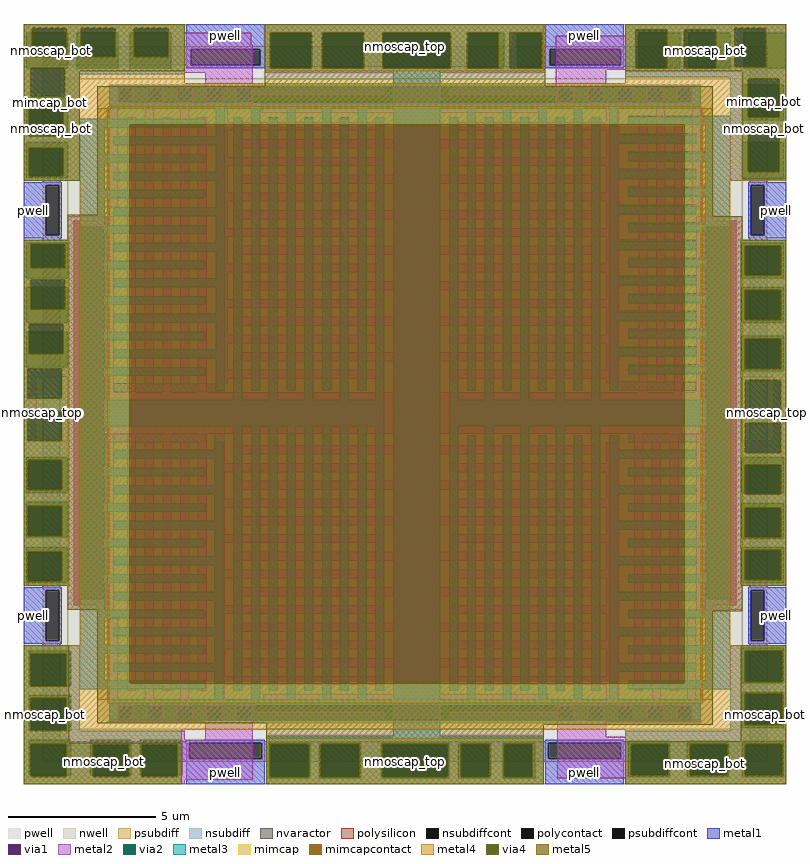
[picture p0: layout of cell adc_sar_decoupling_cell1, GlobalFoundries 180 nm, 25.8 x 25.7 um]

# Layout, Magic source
magic
tech gf180mcuD
magscale 1 10
<< nwell >>
rect -280 -240 4280 4160
<< pwell >>
rect -580 4160 4580 4530
rect -580 -240 -280 4160
rect 4280 -240 4580 4160
rect -580 -610 4580 -240
<< psubdiff >>
rect 520 4360 1050 4380
rect 520 4250 550 4360
rect 1020 4250 1050 4360
rect 520 4230 1050 4250
rect 2950 4360 3480 4380
rect 2950 4250 2980 4360
rect 3460 4250 3480 4360
rect 2950 4230 3480 4250
rect -450 3440 -320 3460
rect -450 3100 -430 3440
rect -340 3100 -320 3440
rect -450 3080 -320 3100
rect -450 700 -320 720
rect -450 360 -430 700
rect -340 360 -320 700
rect -450 340 -320 360
rect 4320 3440 4450 3460
rect 4320 3100 4340 3440
rect 4430 3100 4450 3440
rect 4320 3080 4450 3100
rect 4320 700 4450 720
rect 4320 360 4340 700
rect 4430 360 4450 700
rect 4320 340 4450 360
rect 520 -330 1050 -310
rect 520 -440 540 -330
rect 1030 -440 1050 -330
rect 520 -460 1050 -440
rect 2950 -330 3480 -310
rect 2950 -440 2970 -330
rect 3460 -440 3480 -330
rect 2950 -460 3480 -440
<< nsubdiff >>
rect 0 4100 4000 4120
rect 0 4000 60 4100
rect 3940 4000 4000 4100
rect 0 3960 4000 4000
rect 0 -80 4000 -40
rect 0 -180 60 -80
rect 3940 -180 4000 -80
rect 0 -200 4000 -180
<< psubdiffcont >>
rect 550 4250 1020 4360
rect 2980 4250 3460 4360
rect -430 3100 -340 3440
rect -430 360 -340 700
rect 4340 3100 4430 3440
rect 4340 360 4430 700
rect 540 -440 1030 -330
rect 2970 -440 3460 -330
<< nsubdiffcont >>
rect 60 4000 3940 4100
rect 60 -180 3940 -80
<< nvaractor >>
rect 0 -40 4000 3960
<< polysilicon >>
rect -80 3200 0 3960
rect -240 3160 0 3200
rect -240 640 -200 3160
rect -40 640 0 3160
rect -240 600 0 640
rect -80 -40 0 600
rect 4000 3200 4080 3960
rect 4000 3160 4240 3200
rect 4000 640 4040 3160
rect 4200 640 4240 3160
rect 4000 600 4240 640
rect 4000 -40 4080 600
<< polycontact >>
rect -200 640 -40 3160
rect 4040 640 4200 3160
<< metal1 >>
rect 520 4380 1050 4530
rect 2950 4380 3480 4530
rect -450 4360 4450 4380
rect -450 4250 550 4360
rect 1020 4250 2980 4360
rect 3460 4250 4450 4360
rect -450 3460 -330 4250
rect 520 4240 4450 4250
rect 520 4230 1050 4240
rect 2950 4230 3480 4240
rect 0 4100 4000 4110
rect 0 4000 60 4100
rect 3940 4000 4000 4100
rect 0 3960 4000 4000
rect -200 3830 650 3890
rect -200 3650 -30 3830
rect 720 3770 780 3960
rect 30 3710 780 3770
rect -200 3590 650 3650
rect -580 3440 -320 3460
rect -580 3100 -430 3440
rect -340 3100 -320 3440
rect -580 3080 -320 3100
rect -200 3410 -30 3590
rect 720 3530 780 3710
rect 30 3470 780 3530
rect -200 3350 650 3410
rect -200 3170 -30 3350
rect 720 3290 780 3470
rect 30 3230 780 3290
rect -200 3160 650 3170
rect -450 720 -330 3080
rect -580 700 -320 720
rect -580 360 -430 700
rect -340 360 -320 700
rect -580 340 -320 360
rect -40 3110 650 3160
rect -40 2930 -30 3110
rect 720 3050 780 3230
rect 30 2990 780 3050
rect -40 2870 650 2930
rect -40 2690 -30 2870
rect 720 2810 780 2990
rect 30 2750 780 2810
rect -40 2630 650 2690
rect -40 2450 -30 2630
rect 720 2570 780 2750
rect 30 2510 780 2570
rect -40 2390 650 2450
rect -40 2210 -30 2390
rect 720 2330 780 2510
rect 30 2270 780 2330
rect -40 2150 650 2210
rect -40 1990 -30 2150
rect 720 2100 780 2270
rect 30 2040 780 2100
rect 840 1990 900 3900
rect 960 2050 1020 3960
rect 1080 1990 1140 3900
rect 1200 2050 1260 3960
rect 1320 1990 1380 3900
rect 1440 2050 1500 3960
rect 1560 1990 1620 3900
rect 1680 2050 1740 3960
rect 1800 1990 1860 3900
rect -40 1810 1860 1990
rect -40 1760 -30 1810
rect -40 1700 650 1760
rect -40 1530 -30 1700
rect 710 1650 780 1810
rect 30 1590 780 1650
rect -40 1470 650 1530
rect -40 1290 -30 1470
rect 710 1410 780 1590
rect 30 1350 780 1410
rect -40 1230 650 1290
rect -40 1050 -30 1230
rect 710 1170 780 1350
rect 30 1110 780 1170
rect -40 990 650 1050
rect -40 810 -30 990
rect 710 930 780 1110
rect 30 870 780 930
rect -40 750 650 810
rect -40 640 -30 750
rect 710 690 780 870
rect -200 570 -30 640
rect 30 630 780 690
rect -200 510 650 570
rect -450 -320 -330 340
rect -200 330 -30 510
rect 710 450 780 630
rect 30 390 780 450
rect -200 270 650 330
rect -200 90 -30 270
rect 710 210 780 390
rect 30 150 780 210
rect -200 30 650 90
rect 710 -40 780 150
rect 840 20 900 1810
rect 960 -40 1020 1750
rect 1080 20 1140 1810
rect 1200 -40 1260 1750
rect 1320 20 1380 1810
rect 1440 -40 1500 1750
rect 1560 20 1620 1810
rect 1680 -40 1740 1750
rect 1800 20 1860 1810
rect 1920 -40 2240 3960
rect 2300 1990 2360 3900
rect 2420 2050 2480 3960
rect 2540 1990 2600 3900
rect 2660 2050 2720 3960
rect 2780 1990 2840 3900
rect 2900 2050 2960 3960
rect 3020 1990 3080 3900
rect 3140 2050 3200 3960
rect 3260 1990 3320 3900
rect 3380 3790 3450 3960
rect 3510 3850 4200 3910
rect 3380 3730 3970 3790
rect 3380 3550 3450 3730
rect 4030 3670 4200 3850
rect 3510 3610 4200 3670
rect 3380 3490 3970 3550
rect 3380 3310 3450 3490
rect 4030 3430 4200 3610
rect 4330 3460 4450 4240
rect 3510 3370 4200 3430
rect 3380 3250 3970 3310
rect 3380 3070 3450 3250
rect 4030 3190 4200 3370
rect 3510 3160 4200 3190
rect 3510 3130 4040 3160
rect 3380 3010 3970 3070
rect 3380 2830 3450 3010
rect 4030 2950 4040 3130
rect 3510 2890 4040 2950
rect 3380 2770 3970 2830
rect 3380 2590 3450 2770
rect 4030 2710 4040 2890
rect 3510 2650 4040 2710
rect 3380 2530 3970 2590
rect 3380 2350 3450 2530
rect 4030 2470 4040 2650
rect 3510 2410 4040 2470
rect 3380 2290 3970 2350
rect 3380 2110 3450 2290
rect 4030 2230 4040 2410
rect 3510 2170 4040 2230
rect 3380 2050 3970 2110
rect 4030 1990 4040 2170
rect 2300 1810 4040 1990
rect 2300 20 2360 1810
rect 2420 -40 2480 1750
rect 2540 20 2600 1810
rect 2660 -40 2720 1750
rect 2780 20 2840 1810
rect 2900 -40 2960 1750
rect 3020 20 3080 1810
rect 3140 -40 3200 1750
rect 3260 20 3320 1810
rect 4030 1760 4040 1810
rect 3380 1650 3450 1750
rect 3510 1700 4040 1760
rect 3380 1590 3970 1650
rect 3380 1410 3450 1590
rect 4030 1530 4040 1700
rect 3510 1470 4040 1530
rect 3380 1350 3970 1410
rect 3380 1170 3450 1350
rect 4030 1290 4040 1470
rect 3510 1230 4040 1290
rect 3380 1110 3970 1170
rect 3380 930 3450 1110
rect 4030 1050 4040 1230
rect 3510 990 4040 1050
rect 3380 870 3970 930
rect 3380 690 3450 870
rect 4030 810 4040 990
rect 3510 750 4040 810
rect 3380 630 3970 690
rect 4030 640 4040 750
rect 4320 3440 4580 3460
rect 4320 3100 4340 3440
rect 4430 3100 4580 3440
rect 4320 3080 4580 3100
rect 4330 720 4450 3080
rect 3380 450 3450 630
rect 4030 570 4200 640
rect 3510 510 4200 570
rect 3380 390 3970 450
rect 3380 210 3450 390
rect 4030 330 4200 510
rect 4320 700 4580 720
rect 4320 360 4340 700
rect 4430 360 4580 700
rect 4320 340 4580 360
rect 3510 270 4200 330
rect 3380 150 3970 210
rect 3380 -40 3450 150
rect 4030 90 4200 270
rect 3510 30 4200 90
rect 0 -80 4000 -40
rect 0 -180 60 -80
rect 3940 -180 4000 -80
rect 520 -320 1050 -310
rect 2950 -320 3480 -310
rect 4330 -320 4450 340
rect -450 -330 4450 -320
rect -450 -440 540 -330
rect 1030 -440 2970 -330
rect 3460 -440 4450 -330
rect -450 -460 4450 -440
rect 520 -610 1050 -460
rect 2950 -610 3480 -460
<< via1 >>
rect 60 4000 160 4100
rect 260 4000 360 4100
rect 460 4000 560 4100
rect 660 4000 760 4100
rect 860 4000 960 4100
rect 3040 4000 3140 4100
rect 3240 4000 3340 4100
rect 3440 4000 3540 4100
rect 3640 4000 3740 4100
rect 3840 4000 3940 4100
rect 60 -180 160 -80
rect 260 -180 360 -80
rect 460 -180 560 -80
rect 660 -180 760 -80
rect 860 -180 960 -80
rect 3040 -180 3140 -80
rect 3240 -180 3340 -80
rect 3440 -180 3540 -80
rect 3640 -180 3740 -80
rect 3840 -180 3940 -80
<< metal2 >>
rect -580 4470 510 4530
rect 1050 4470 2950 4530
rect -580 4230 -560 4470
rect -280 4230 -220 4470
rect 60 4230 140 4470
rect 420 4390 960 4470
rect 420 4230 970 4390
rect -580 4200 970 4230
rect 1050 4230 1090 4470
rect 1370 4230 1440 4470
rect 1720 4230 1850 4470
rect 2310 4230 2420 4470
rect 2670 4230 2760 4470
rect 2930 4230 2950 4470
rect 3490 4470 4580 4530
rect 3490 4450 3580 4470
rect 1050 4200 2950 4230
rect 3020 4230 3580 4450
rect 3860 4230 3920 4470
rect 4200 4230 4290 4470
rect 4570 4230 4580 4470
rect 3020 4220 4580 4230
rect -580 4190 510 4200
rect -580 4030 -200 4190
rect 650 4110 970 4200
rect -580 3790 -560 4030
rect -280 3790 -200 4030
rect -580 3730 -200 3790
rect -580 3490 -560 3730
rect -280 3490 -200 3730
rect -580 3470 -200 3490
rect 0 4100 1860 4110
rect 0 4000 60 4100
rect 160 4000 260 4100
rect 360 4000 460 4100
rect 560 4000 660 4100
rect 760 4000 860 4100
rect 960 4050 1860 4100
rect 960 4000 970 4050
rect 0 3960 970 4000
rect 1920 3990 2240 4200
rect 3020 4110 3360 4220
rect 3490 4170 4580 4220
rect 4200 4120 4580 4170
rect 2300 4100 4000 4110
rect 2300 4050 3040 4100
rect 3020 4000 3040 4050
rect 3140 4000 3240 4100
rect 3340 4000 3440 4100
rect 3540 4000 3640 4100
rect 3740 4000 3840 4100
rect 3940 4000 4000 4100
rect 0 3290 60 3960
rect -280 3070 30 3230
rect -580 3050 30 3070
rect -580 2810 -560 3050
rect -280 2810 30 3050
rect -580 2750 30 2810
rect -580 2510 -560 2750
rect -280 2510 30 2750
rect -580 2450 30 2510
rect -580 2210 -560 2450
rect -280 2210 30 2450
rect -580 2140 30 2210
rect -580 1710 -490 2140
rect -280 2040 30 2140
rect 120 2040 180 3900
rect 240 2100 300 3960
rect 360 2040 420 3900
rect 480 2100 540 3960
rect 600 2040 660 3900
rect 720 3870 800 3960
rect 1030 3930 2960 3990
rect 3020 3960 4000 4000
rect 720 3810 1860 3870
rect 720 3630 800 3810
rect 1920 3750 2240 3930
rect 3360 3870 3450 3960
rect 2300 3810 3450 3870
rect 860 3690 3300 3750
rect 720 3570 1860 3630
rect 720 3390 800 3570
rect 1920 3510 2240 3690
rect 3360 3630 3450 3810
rect 2300 3570 3450 3630
rect 860 3450 3300 3510
rect 720 3330 1860 3390
rect 720 3150 800 3330
rect 1920 3270 2240 3450
rect 3360 3390 3450 3570
rect 2300 3330 3450 3390
rect 860 3210 3300 3270
rect 720 3090 1860 3150
rect 720 2910 800 3090
rect 1920 3030 2240 3210
rect 3360 3150 3450 3330
rect 2300 3090 3450 3150
rect 860 2970 3300 3030
rect 720 2850 1860 2910
rect 720 2670 800 2850
rect 1920 2790 2240 2970
rect 3360 2910 3450 3090
rect 2300 2850 3450 2910
rect 860 2730 3300 2790
rect 720 2610 1860 2670
rect 720 2430 800 2610
rect 1920 2550 2240 2730
rect 3360 2670 3450 2850
rect 2300 2610 3450 2670
rect 860 2490 3300 2550
rect 720 2370 1860 2430
rect 720 2190 800 2370
rect 1920 2310 2240 2490
rect 3360 2430 3450 2610
rect 2300 2370 3450 2430
rect 860 2250 3300 2310
rect 720 2130 1860 2190
rect 720 2100 800 2130
rect 1920 2040 2240 2250
rect 3360 2190 3450 2370
rect 2300 2130 3450 2190
rect 3360 2100 3450 2130
rect 3580 2040 3640 3900
rect 3700 2100 3760 3960
rect 3820 2040 3880 3900
rect 3940 3290 4000 3960
rect 4200 3880 4280 4120
rect 4560 3880 4580 4120
rect 4200 3730 4580 3880
rect 4200 3490 4280 3730
rect 4560 3490 4580 3730
rect 4200 3470 4580 3490
rect 3970 3070 4280 3230
rect 3970 3050 4580 3070
rect 3970 2810 4280 3050
rect 4560 2810 4580 3050
rect 3970 2750 4580 2810
rect 3970 2510 4280 2750
rect 4560 2510 4580 2750
rect 3970 2420 4580 2510
rect 3970 2180 4280 2420
rect 4560 2180 4580 2420
rect 3970 2140 4580 2180
rect 3970 2040 4280 2140
rect -280 1760 4280 2040
rect -280 1710 30 1760
rect -580 1600 30 1710
rect -580 1360 -560 1600
rect -280 1360 30 1600
rect -580 1300 30 1360
rect -580 1060 -560 1300
rect -280 1060 30 1300
rect -580 990 30 1060
rect -580 750 -560 990
rect -280 750 30 990
rect -580 730 30 750
rect -280 570 30 730
rect -580 290 -200 330
rect -580 50 -540 290
rect -260 50 -200 290
rect -580 -10 -200 50
rect -580 -250 -540 -10
rect -260 -250 -200 -10
rect 0 -40 60 510
rect 120 20 180 1760
rect 240 -40 300 1700
rect 360 20 420 1760
rect 480 -40 540 1700
rect 600 20 660 1760
rect 720 1560 780 1700
rect 1920 1680 2240 1760
rect 840 1620 3300 1680
rect 720 1500 1860 1560
rect 720 1320 780 1500
rect 1920 1440 2240 1620
rect 3360 1560 3450 1700
rect 2300 1500 3450 1560
rect 840 1380 3300 1440
rect 720 1260 1860 1320
rect 720 1080 780 1260
rect 1920 1200 2240 1380
rect 3360 1320 3450 1500
rect 2300 1260 3450 1320
rect 840 1140 3300 1200
rect 720 1020 1860 1080
rect 720 840 780 1020
rect 1920 960 2240 1140
rect 3360 1080 3450 1260
rect 2300 1020 3450 1080
rect 840 900 3300 960
rect 720 780 1860 840
rect 720 600 780 780
rect 1920 720 2240 900
rect 3360 840 3450 1020
rect 2300 780 3450 840
rect 840 660 3300 720
rect 720 540 1860 600
rect 720 360 780 540
rect 1920 480 2240 660
rect 3360 600 3450 780
rect 2300 540 3450 600
rect 840 420 3300 480
rect 720 300 1860 360
rect 720 120 780 300
rect 1920 240 2240 420
rect 3360 360 3450 540
rect 2300 300 3450 360
rect 840 180 3300 240
rect 720 60 1860 120
rect 720 -40 780 60
rect 1920 0 2240 180
rect 3360 120 3450 300
rect 2300 60 3450 120
rect 0 -80 980 -40
rect 1040 -60 2970 0
rect 3360 -40 3450 60
rect 3550 20 3610 1760
rect 3670 -40 3730 1700
rect 3790 20 3850 1760
rect 3970 1710 4280 1760
rect 4490 1710 4580 2140
rect 3970 1600 4580 1710
rect 3970 1360 4280 1600
rect 4560 1360 4580 1600
rect 3970 1290 4580 1360
rect 3970 1050 4280 1290
rect 4560 1050 4580 1290
rect 3970 990 4580 1050
rect 3970 750 4280 990
rect 4560 750 4580 990
rect 3970 730 4580 750
rect 3970 570 4280 730
rect 3910 -40 3970 510
rect 4200 310 4580 330
rect 4200 70 4280 310
rect 4560 70 4580 310
rect 4200 10 4580 70
rect 0 -180 60 -80
rect 160 -180 260 -80
rect 360 -180 460 -80
rect 560 -180 660 -80
rect 760 -180 860 -80
rect 960 -120 980 -80
rect 960 -180 1860 -120
rect 0 -190 980 -180
rect -580 -310 510 -250
rect 650 -310 970 -190
rect 1920 -280 2240 -60
rect 3030 -80 4000 -40
rect 3030 -120 3040 -80
rect 2300 -180 3040 -120
rect 3140 -180 3240 -80
rect 3340 -180 3440 -80
rect 3540 -180 3640 -80
rect 3740 -180 3840 -80
rect 3940 -180 4000 -80
rect 3030 -190 4000 -180
rect -580 -550 -540 -310
rect -260 -550 -130 -310
rect 150 -550 210 -310
rect 490 -550 970 -310
rect -580 -580 970 -550
rect 1060 -330 2940 -280
rect 1060 -570 1080 -330
rect 1360 -570 1420 -330
rect 1700 -570 1840 -330
rect 2300 -570 2360 -330
rect 2580 -570 2660 -330
rect 2880 -570 2940 -330
rect 3030 -290 3360 -190
rect 4200 -230 4280 10
rect 4560 -230 4580 10
rect 4200 -250 4580 -230
rect 3490 -290 4580 -250
rect 3030 -320 4580 -290
rect 3030 -560 3510 -320
rect 3790 -560 3910 -320
rect 4190 -560 4280 -320
rect 4560 -560 4580 -320
rect 3030 -570 4580 -560
rect -580 -610 510 -580
rect 1060 -610 2940 -570
rect 3490 -610 4580 -570
<< via2 >>
rect -560 4230 -280 4470
rect -220 4230 60 4470
rect 140 4230 420 4470
rect 1090 4230 1370 4470
rect 1440 4230 1720 4470
rect 1850 4230 2310 4470
rect 2420 4230 2670 4470
rect 2760 4230 2930 4470
rect 3580 4230 3860 4470
rect 3920 4230 4200 4470
rect 4290 4230 4570 4470
rect -560 3790 -280 4030
rect -560 3490 -280 3730
rect -560 2810 -280 3050
rect -560 2510 -280 2750
rect -560 2210 -280 2450
rect 4280 3880 4560 4120
rect 4280 3490 4560 3730
rect 4280 2810 4560 3050
rect 4280 2510 4560 2750
rect 4280 2180 4560 2420
rect -560 1360 -280 1600
rect -560 1060 -280 1300
rect -560 750 -280 990
rect -540 50 -260 290
rect -540 -250 -260 -10
rect 4280 1360 4560 1600
rect 4280 1050 4560 1290
rect 4280 750 4560 990
rect 4280 70 4560 310
rect -540 -550 -260 -310
rect -130 -550 150 -310
rect 210 -550 490 -310
rect 1080 -570 1360 -330
rect 1420 -570 1700 -330
rect 1840 -570 2300 -330
rect 2360 -570 2580 -330
rect 2660 -570 2880 -330
rect 4280 -230 4560 10
rect 3510 -560 3790 -320
rect 3910 -560 4190 -320
rect 4280 -560 4560 -320
<< mimcap >>
rect -10 3850 4010 3970
rect -10 70 140 3850
rect 3890 70 4010 3850
rect -10 -60 4010 70
<< mimcapcontact >>
rect 140 70 3890 3850
<< metal3 >>
rect -580 4470 510 4530
rect -580 4230 -560 4470
rect -280 4230 -220 4470
rect 60 4230 140 4470
rect 420 4230 510 4470
rect -580 4190 510 4230
rect 1050 4470 2940 4530
rect 1050 4230 1090 4470
rect 1370 4230 1440 4470
rect 1720 4230 1850 4470
rect 2310 4230 2420 4470
rect 2670 4230 2760 4470
rect 2930 4230 2940 4470
rect 1050 4210 2940 4230
rect 3490 4470 4580 4530
rect 3490 4230 3580 4470
rect 3860 4230 3920 4470
rect 4200 4230 4290 4470
rect 4570 4230 4580 4470
rect -580 4030 -200 4190
rect 1920 4110 2240 4210
rect 3490 4170 4580 4230
rect 4200 4120 4580 4170
rect -580 3790 -560 4030
rect -280 3890 -200 4030
rect 0 3960 4000 4110
rect -280 3830 650 3890
rect -280 3790 -30 3830
rect -580 3730 -30 3790
rect 720 3770 780 3960
rect -580 3490 -560 3730
rect -280 3650 -30 3730
rect 30 3710 780 3770
rect -280 3590 650 3650
rect -280 3490 -30 3590
rect 720 3530 780 3710
rect -580 3470 -30 3490
rect 30 3470 780 3530
rect -200 3410 -30 3470
rect -200 3350 650 3410
rect -200 3170 -30 3350
rect 720 3290 780 3470
rect 30 3230 780 3290
rect -200 3110 650 3170
rect -580 3050 -270 3070
rect -580 2810 -560 3050
rect -280 2810 -270 3050
rect -580 2750 -270 2810
rect -580 2510 -560 2750
rect -280 2510 -270 2750
rect -580 2450 -270 2510
rect -580 2210 -560 2450
rect -280 2210 -270 2450
rect -580 1600 -270 2210
rect -580 1360 -560 1600
rect -280 1360 -270 1600
rect -580 1300 -270 1360
rect -580 1060 -560 1300
rect -280 1060 -270 1300
rect -580 990 -270 1060
rect -580 750 -560 990
rect -280 750 -270 990
rect -580 730 -270 750
rect -200 2930 -30 3110
rect 720 3050 780 3230
rect 30 2990 780 3050
rect -200 2870 650 2930
rect -200 2690 -30 2870
rect 720 2810 780 2990
rect 30 2750 780 2810
rect -200 2630 650 2690
rect -200 2450 -30 2630
rect 720 2570 780 2750
rect 30 2510 780 2570
rect -200 2390 650 2450
rect -200 2210 -30 2390
rect 720 2330 780 2510
rect 30 2270 780 2330
rect -200 2150 650 2210
rect -200 1988 -30 2150
rect 720 2050 780 2270
rect 840 1988 900 3900
rect 960 2050 1020 3960
rect 1080 1988 1140 3890
rect 1200 2050 1260 3960
rect 1320 1988 1380 3890
rect 1440 2050 1500 3960
rect 1560 1988 1620 3890
rect 1680 2050 1740 3960
rect 1800 1988 1860 3900
rect -200 1807 1860 1988
rect -200 1530 -30 1807
rect 710 1650 770 1700
rect 30 1590 770 1650
rect -200 1470 650 1530
rect -200 1290 -30 1470
rect 710 1410 770 1590
rect 30 1350 770 1410
rect -200 1230 650 1290
rect -200 1050 -30 1230
rect 710 1170 770 1350
rect 30 1110 770 1170
rect -200 990 650 1050
rect -200 810 -30 990
rect 710 930 770 1110
rect 30 870 770 930
rect -200 750 650 810
rect -200 570 -30 750
rect 710 690 770 870
rect 30 630 770 690
rect -200 510 650 570
rect -200 330 -30 510
rect 710 450 770 630
rect 30 390 770 450
rect -580 290 650 330
rect -580 50 -540 290
rect -260 270 650 290
rect -260 90 -30 270
rect 710 210 770 390
rect 30 150 770 210
rect -260 50 650 90
rect -580 30 650 50
rect -580 -10 -200 30
rect -580 -250 -540 -10
rect -260 -250 -200 -10
rect 710 -40 770 150
rect 840 20 900 1807
rect 960 -40 1020 1807
rect 1080 20 1140 1807
rect 1200 -40 1260 1807
rect 1320 20 1380 1807
rect 1440 -40 1500 1807
rect 1560 20 1620 1807
rect 1680 -40 1740 1807
rect 1800 20 1860 1807
rect 1920 -40 2240 3960
rect 2300 1990 2360 3900
rect 2420 2050 2480 3960
rect 2540 1990 2600 3900
rect 2660 2050 2720 3960
rect 2780 1990 2840 3900
rect 2900 2050 2960 3960
rect 3020 1990 3080 3900
rect 3140 2050 3200 3960
rect 3260 1990 3320 3900
rect 3380 3780 3440 3960
rect 4200 3910 4280 4120
rect 4030 3903 4280 3910
rect 3510 3880 4280 3903
rect 4560 3880 4580 4120
rect 3510 3847 4580 3880
rect 3380 3720 3970 3780
rect 4030 3730 4580 3847
rect 3380 3540 3440 3720
rect 4030 3660 4280 3730
rect 3510 3600 4280 3660
rect 3380 3480 3970 3540
rect 4030 3490 4280 3600
rect 4560 3490 4580 3730
rect 3380 3300 3440 3480
rect 4030 3470 4580 3490
rect 4030 3420 4200 3470
rect 3510 3360 4200 3420
rect 3380 3240 3970 3300
rect 3380 3060 3440 3240
rect 4030 3180 4200 3360
rect 3510 3120 4200 3180
rect 3380 3000 3970 3060
rect 3380 2820 3440 3000
rect 4030 2940 4200 3120
rect 3510 2880 4200 2940
rect 3380 2760 3970 2820
rect 3380 2580 3440 2760
rect 4030 2700 4200 2880
rect 3510 2640 4200 2700
rect 3380 2520 3970 2580
rect 3380 2340 3440 2520
rect 4030 2460 4200 2640
rect 3510 2400 4200 2460
rect 3380 2280 3970 2340
rect 3380 2050 3440 2280
rect 4030 2220 4200 2400
rect 3510 2160 4200 2220
rect 4030 1990 4200 2160
rect 2300 1810 4200 1990
rect 2300 20 2360 1810
rect 2420 -40 2480 1750
rect 2540 20 2600 1810
rect 2660 -40 2720 1750
rect 2780 20 2840 1810
rect 2900 -40 2960 1750
rect 3020 20 3080 1810
rect 3140 -40 3200 1750
rect 3260 20 3320 1810
rect 3380 1650 3440 1750
rect 3380 1590 3970 1650
rect 3380 1410 3440 1590
rect 4030 1530 4200 1810
rect 3510 1470 4200 1530
rect 3380 1350 3970 1410
rect 3380 1170 3440 1350
rect 4030 1290 4200 1470
rect 3510 1230 4200 1290
rect 3380 1110 3970 1170
rect 3380 930 3440 1110
rect 4030 1050 4200 1230
rect 3510 990 4200 1050
rect 3380 870 3970 930
rect 3380 690 3440 870
rect 4030 810 4200 990
rect 3510 750 4200 810
rect 3380 630 3970 690
rect 3380 450 3440 630
rect 4030 570 4200 750
rect 4270 3050 4580 3070
rect 4270 2810 4280 3050
rect 4560 2810 4580 3050
rect 4270 2750 4580 2810
rect 4270 2510 4280 2750
rect 4560 2510 4580 2750
rect 4270 2420 4580 2510
rect 4270 2180 4280 2420
rect 4560 2180 4580 2420
rect 4270 1600 4580 2180
rect 4270 1360 4280 1600
rect 4560 1360 4580 1600
rect 4270 1290 4580 1360
rect 4270 1050 4280 1290
rect 4560 1050 4580 1290
rect 4270 990 4580 1050
rect 4270 750 4280 990
rect 4560 750 4580 990
rect 4270 730 4580 750
rect 3510 510 4200 570
rect 3380 390 3970 450
rect 3380 210 3440 390
rect 4030 330 4200 510
rect 3510 310 4580 330
rect 3510 270 4280 310
rect 3380 150 3970 210
rect 3380 -40 3440 150
rect 4030 90 4280 270
rect 3510 70 4280 90
rect 4560 70 4580 310
rect 3510 30 4580 70
rect 4200 10 4580 30
rect 0 -180 4000 -40
rect -580 -310 490 -250
rect 1920 -290 2240 -180
rect 4200 -230 4280 10
rect 4560 -230 4580 10
rect 4200 -250 4580 -230
rect -580 -550 -540 -310
rect -260 -550 -130 -310
rect 150 -550 210 -310
rect -580 -610 490 -550
rect 1060 -330 2940 -290
rect 1060 -570 1080 -330
rect 1360 -570 1420 -330
rect 1700 -570 1840 -330
rect 2300 -570 2360 -330
rect 2580 -570 2660 -330
rect 2880 -570 2940 -330
rect 1060 -610 2940 -570
rect 3490 -320 4580 -250
rect 3490 -560 3510 -320
rect 3790 -560 3910 -320
rect 4190 -560 4280 -320
rect 4560 -560 4580 -320
rect 3490 -610 4580 -560
<< metal4 >>
rect -580 4500 510 4530
rect -580 4310 -520 4500
rect -290 4310 -190 4500
rect 40 4310 170 4500
rect 400 4310 510 4500
rect -580 4230 510 4310
rect -580 4040 -530 4230
rect -300 4130 510 4230
rect 1050 4470 2940 4530
rect 1050 4230 1090 4470
rect 1370 4230 1440 4470
rect 1720 4230 1850 4470
rect 2310 4230 2420 4470
rect 2630 4230 2710 4470
rect 2920 4230 2940 4470
rect 1050 4210 2940 4230
rect 3490 4500 4580 4530
rect 3490 4490 4230 4500
rect 3490 4230 3560 4490
rect 3770 4230 3890 4490
rect 4100 4240 4230 4490
rect 4440 4240 4580 4500
rect 4100 4230 4580 4240
rect 3490 4160 4580 4230
rect 3490 4130 4320 4160
rect -300 4040 4320 4130
rect -580 3970 4320 4040
rect -580 3960 -10 3970
rect -580 3770 -540 3960
rect -310 3770 -10 3960
rect 4010 3900 4320 3970
rect 4530 3900 4580 4160
rect -580 3690 -10 3770
rect -580 3500 -540 3690
rect -310 3500 -10 3690
rect -580 3470 -10 3500
rect -580 3040 -270 3070
rect -580 2880 -530 3040
rect -300 2880 -270 3040
rect -580 2800 -270 2880
rect -580 2600 -530 2800
rect -300 2600 -270 2800
rect -580 2500 -270 2600
rect -580 2300 -540 2500
rect -310 2300 -270 2500
rect -580 2200 -270 2300
rect -580 2000 -550 2200
rect -320 2000 -270 2200
rect -580 1910 -270 2000
rect -580 1710 -550 1910
rect -320 1710 -270 1910
rect -580 1580 -270 1710
rect -580 1380 -550 1580
rect -320 1380 -270 1580
rect -580 1270 -270 1380
rect -580 1070 -550 1270
rect -320 1070 -270 1270
rect -580 960 -270 1070
rect -580 760 -550 960
rect -320 760 -270 960
rect -580 730 -270 760
rect -200 330 -10 3470
rect -580 270 -10 330
rect -580 50 -530 270
rect -290 50 -10 270
rect 4010 3790 4580 3900
rect 4010 3530 4320 3790
rect 4530 3530 4580 3790
rect 4010 3470 4580 3530
rect 4010 330 4200 3470
rect 4280 3030 4580 3070
rect 4280 2830 4300 3030
rect 4540 2830 4580 3030
rect 4280 2730 4580 2830
rect 4280 2530 4300 2730
rect 4540 2530 4580 2730
rect 4280 2400 4580 2530
rect 4280 2200 4300 2400
rect 4540 2200 4580 2400
rect 4280 2120 4580 2200
rect 4280 1920 4300 2120
rect 4540 1920 4580 2120
rect 4280 1830 4580 1920
rect 4280 1630 4300 1830
rect 4540 1630 4580 1830
rect 4280 1550 4580 1630
rect 4280 1350 4300 1550
rect 4540 1350 4580 1550
rect 4280 1260 4580 1350
rect 4280 1060 4300 1260
rect 4540 1060 4580 1260
rect 4280 970 4580 1060
rect 4280 770 4300 970
rect 4540 770 4580 970
rect 4280 730 4580 770
rect 4010 290 4580 330
rect 4010 80 4300 290
rect 4550 80 4580 290
rect -580 -30 -10 50
rect -580 -250 -530 -30
rect -290 -60 -10 -30
rect 4010 0 4580 80
rect 4010 -60 4300 0
rect -290 -210 4300 -60
rect 4550 -210 4580 0
rect -290 -240 4580 -210
rect -290 -250 490 -240
rect -580 -340 490 -250
rect -580 -560 -530 -340
rect -290 -560 -110 -340
rect 130 -560 220 -340
rect 460 -560 490 -340
rect -580 -610 490 -560
rect 1060 -340 2940 -300
rect 1060 -560 1090 -340
rect 1350 -560 1430 -340
rect 1690 -560 1850 -340
rect 2290 -560 2380 -340
rect 2570 -560 2670 -340
rect 2860 -560 2940 -340
rect 1060 -610 2940 -560
rect 3490 -340 4580 -240
rect 3490 -550 3530 -340
rect 3780 -550 3930 -340
rect 4180 -550 4300 -340
rect 4550 -550 4580 -340
rect 3490 -610 4580 -550
<< via4 >>
rect -520 4310 -290 4500
rect -190 4310 40 4500
rect 170 4310 400 4500
rect -530 4040 -300 4230
rect 1090 4230 1370 4470
rect 1440 4230 1720 4470
rect 1850 4230 2310 4470
rect 2420 4230 2630 4470
rect 2710 4230 2920 4470
rect 3560 4230 3770 4490
rect 3890 4230 4100 4490
rect 4230 4240 4440 4500
rect -540 3770 -310 3960
rect 4320 3900 4530 4160
rect -540 3500 -310 3690
rect -530 2880 -300 3040
rect -530 2600 -300 2800
rect -540 2300 -310 2500
rect -550 2000 -320 2200
rect -550 1710 -320 1910
rect -550 1380 -320 1580
rect -550 1070 -320 1270
rect -550 760 -320 960
rect -530 50 -290 270
rect 4320 3530 4530 3790
rect 4300 2830 4540 3030
rect 4300 2530 4540 2730
rect 4300 2200 4540 2400
rect 4300 1920 4540 2120
rect 4300 1630 4540 1830
rect 4300 1350 4540 1550
rect 4300 1060 4540 1260
rect 4300 770 4540 970
rect 4300 80 4550 290
rect -530 -250 -290 -30
rect 4300 -210 4550 0
rect -530 -560 -290 -340
rect -110 -560 130 -340
rect 220 -560 460 -340
rect 1090 -560 1350 -340
rect 1430 -560 1690 -340
rect 1850 -560 2290 -340
rect 2380 -560 2570 -340
rect 2670 -560 2860 -340
rect 3530 -550 3780 -340
rect 3930 -550 4180 -340
rect 4300 -550 4550 -340
<< metal5 >>
rect -580 4500 510 4530
rect -580 4310 -520 4500
rect -290 4310 -190 4500
rect 40 4310 170 4500
rect 400 4310 510 4500
rect -580 4230 510 4310
rect -580 4040 -530 4230
rect -300 4210 510 4230
rect 1050 4470 2950 4530
rect 1050 4230 1090 4470
rect 1370 4230 1440 4470
rect 1720 4230 1850 4470
rect 2310 4230 2420 4470
rect 2630 4230 2710 4470
rect 2920 4230 2950 4470
rect -300 4040 -200 4210
rect 1050 4110 2950 4230
rect 3490 4500 4580 4530
rect 3490 4490 4230 4500
rect 3490 4230 3560 4490
rect 3770 4230 3890 4490
rect 4100 4240 4230 4490
rect 4440 4240 4580 4500
rect 4100 4230 4580 4240
rect 3490 4210 4580 4230
rect 4280 4160 4580 4210
rect -580 3960 -200 4040
rect -580 3770 -540 3960
rect -310 3770 -200 3960
rect -580 3690 -200 3770
rect -580 3500 -540 3690
rect -310 3500 -200 3690
rect -580 3470 -200 3500
rect -80 3850 4080 4110
rect -80 3240 140 3850
rect -280 3070 140 3240
rect -580 3040 140 3070
rect -580 2880 -530 3040
rect -300 2880 140 3040
rect -580 2800 140 2880
rect -580 2600 -530 2800
rect -300 2600 140 2800
rect -580 2500 140 2600
rect -580 2300 -540 2500
rect -310 2300 140 2500
rect -580 2200 140 2300
rect -580 2000 -550 2200
rect -320 2000 140 2200
rect -580 1910 140 2000
rect -580 1710 -550 1910
rect -320 1710 140 1910
rect -580 1580 140 1710
rect -580 1380 -550 1580
rect -320 1380 140 1580
rect -580 1270 140 1380
rect -580 1070 -550 1270
rect -320 1070 140 1270
rect -580 960 140 1070
rect -580 760 -550 960
rect -320 760 140 960
rect -580 730 140 760
rect -280 570 140 730
rect -580 270 -270 330
rect -580 50 -530 270
rect -290 50 -270 270
rect -580 -30 -270 50
rect -580 -250 -530 -30
rect -290 -250 -270 -30
rect -80 70 140 570
rect 3890 3302 4080 3850
rect 4280 3900 4320 4160
rect 4530 3900 4580 4160
rect 4280 3790 4580 3900
rect 4280 3530 4320 3790
rect 4530 3530 4580 3790
rect 4280 3480 4580 3530
rect 3890 3230 4082 3302
rect 3890 3070 4280 3230
rect 3890 3030 4580 3070
rect 3890 2830 4300 3030
rect 4540 2830 4580 3030
rect 3890 2730 4580 2830
rect 3890 2530 4300 2730
rect 4540 2530 4580 2730
rect 3890 2400 4580 2530
rect 3890 2200 4300 2400
rect 4540 2200 4580 2400
rect 3890 2120 4580 2200
rect 3890 1920 4300 2120
rect 4540 1920 4580 2120
rect 3890 1830 4580 1920
rect 3890 1630 4300 1830
rect 4540 1630 4580 1830
rect 3890 1550 4580 1630
rect 3890 1350 4300 1550
rect 4540 1350 4580 1550
rect 3890 1260 4580 1350
rect 3890 1060 4300 1260
rect 4540 1060 4580 1260
rect 3890 970 4580 1060
rect 3890 770 4300 970
rect 4540 770 4580 970
rect 3890 730 4580 770
rect 3890 560 4280 730
rect 3890 70 4080 560
rect -80 -200 4080 70
rect -580 -330 -270 -250
rect 1060 -210 4080 -200
rect 4270 290 4580 330
rect 4270 80 4300 290
rect 4550 80 4580 290
rect 4270 0 4580 80
rect 4270 -210 4300 0
rect 4550 -210 4580 0
rect -580 -340 490 -330
rect -580 -560 -530 -340
rect -290 -560 -110 -340
rect 130 -560 220 -340
rect 460 -560 490 -340
rect -580 -610 490 -560
rect 1060 -340 2940 -210
rect 4270 -320 4580 -210
rect 1060 -560 1090 -340
rect 1350 -560 1430 -340
rect 1690 -560 1850 -340
rect 2290 -560 2380 -340
rect 2570 -560 2670 -340
rect 2860 -560 2940 -340
rect 1060 -610 2940 -560
rect 3490 -340 4580 -320
rect 3490 -550 3530 -340
rect 3780 -550 3930 -340
rect 4180 -550 4300 -340
rect 4550 -550 4580 -340
rect 3490 -610 4580 -550
<< labels >>
flabel metal1 520 4380 1050 4530 0 FreeSans 320 0 0 0 pwell
port 1 nsew
flabel metal1 2950 4380 3480 4530 0 FreeSans 320 0 0 0 pwell
port 2 nsew
flabel metal1 4450 3080 4580 3460 0 FreeSans 320 0 0 0 pwell
port 3 nsew
flabel metal1 4450 340 4580 720 0 FreeSans 320 0 0 0 pwell
port 4 nsew
flabel metal1 2950 -610 3480 -460 0 FreeSans 320 0 0 0 pwell
port 5 nsew
flabel metal1 520 -610 1050 -460 0 FreeSans 320 0 0 0 pwell
port 6 nsew
flabel metal1 -580 340 -450 720 0 FreeSans 320 0 0 0 pwell
port 7 nsew
flabel metal1 -580 3080 -450 3460 0 FreeSans 320 0 0 0 pwell
port 8 nsew
flabel metal2 1050 4230 2950 4530 0 FreeSans 320 0 0 0 nmoscap_top
port 9 nsew
flabel metal2 -580 4170 -200 4530 0 FreeSans 320 0 0 0 nmoscap_bot
port 10 nsew
flabel metal2 -580 3470 -200 4170 0 FreeSans 320 0 0 0 nmoscap_bot
port 11 nsew
flabel metal2 3490 4170 4580 4530 0 FreeSans 320 0 0 0 nmoscap_bot
port 12 nsew
flabel metal2 4280 3470 4580 4170 0 FreeSans 320 0 0 0 nmoscap_bot
port 13 nsew
flabel metal2 4490 730 4580 3070 0 FreeSans 320 0 0 0 nmoscap_top
port 14 nsew
flabel metal2 3490 -610 4580 -330 0 FreeSans 320 0 0 0 nmoscap_bot
port 15 nsew
flabel metal2 4300 -610 4580 330 0 FreeSans 320 0 0 0 nmoscap_bot
port 16 nsew
flabel metal2 -580 -610 510 -300 0 FreeSans 320 0 0 0 nmoscap_bot
port 17 nsew
flabel metal2 -580 -610 -280 330 0 FreeSans 320 0 0 0 nmoscap_bot
port 18 nsew
flabel metal2 1060 -610 2940 -310 0 FreeSans 320 0 0 0 nmoscap_top
port 19 nsew
flabel metal2 -580 730 -490 3070 0 FreeSans 320 0 0 0 nmoscap_top
port 20 nsew
flabel metal5 1050 4220 2950 4530 0 FreeSans 320 0 0 0 mimcap_top
port 21 nsew
flabel metal5 3490 4220 4580 4530 0 FreeSans 320 0 0 0 mimcap_bot
port 22 nsew
flabel metal5 4280 3480 4580 4530 0 FreeSans 320 0 0 0 mimcap_bot
port 23 nsew
flabel metal5 4280 -600 4580 330 0 FreeSans 320 0 0 0 mimcap_bot
port 24 nsew
flabel metal5 3490 -610 4580 -330 0 FreeSans 320 0 0 0 mimcap_bot
port 25 nsew
flabel metal5 -580 -610 490 -340 0 FreeSans 320 0 0 0 mimcap_bot
port 26 nsew
flabel metal5 -580 -610 -270 330 0 FreeSans 320 0 0 0 mimcap_bot
port 27 nsew
flabel metal5 -580 4220 510 4530 0 FreeSans 320 0 0 0 mimcap_bot
port 28 nsew
flabel metal5 -580 3470 -220 4530 0 FreeSans 320 0 0 0 mimcap_bot
port 29 nsew
flabel metal5 -580 730 -270 3070 0 FreeSans 320 0 0 0 mimcap_top
port 30 nsew
flabel metal5 4270 730 4580 3070 0 FreeSans 320 0 0 0 mimcap_top
port 31 nsew
flabel metal5 1060 -610 2940 -310 0 FreeSans 320 0 0 0 mimcap_top
port 32 nsew
<< end >>
